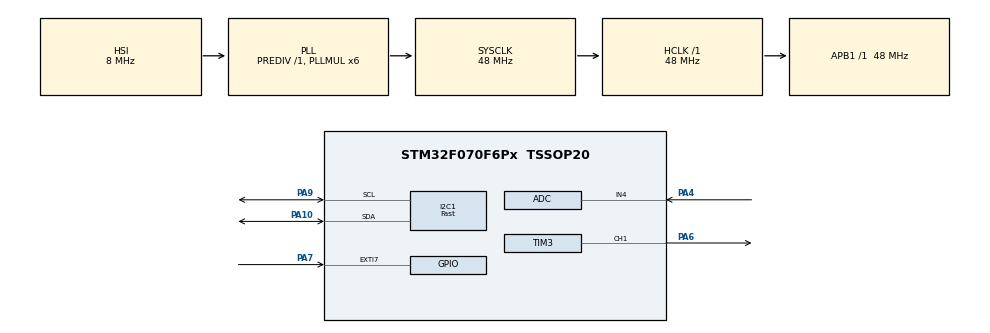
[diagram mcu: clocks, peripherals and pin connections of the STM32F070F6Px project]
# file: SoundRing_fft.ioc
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ADC.ContinuousConvMode=DISABLE
ADC.DMAContinuousRequests=DISABLE
ADC.SamplingTime=ADC_SAMPLETIME_28CYCLES_5
Dma.I2C1_TX.1.Direction=DMA_MEMORY_TO_PERIPH
Dma.I2C1_TX.1.Instance=DMA1_Channel2
Dma.I2C1_TX.1.MemDataAlignment=DMA_MDATAALIGN_BYTE
Dma.I2C1_TX.1.MemInc=DMA_MINC_ENABLE
Dma.I2C1_TX.1.Mode=DMA_NORMAL
Dma.I2C1_TX.1.PeriphDataAlignment=DMA_PDATAALIGN_BYTE
Dma.I2C1_TX.1.PeriphInc=DMA_PINC_DISABLE
Dma.I2C1_TX.1.Priority=DMA_PRIORITY_LOW
Dma.Request0=TIM3_CH1/TRIG
Dma.Request1=I2C1_TX
Dma.TIM3_CH1/TRIG.0.Direction=DMA_MEMORY_TO_PERIPH
Dma.TIM3_CH1/TRIG.0.Instance=DMA1_Channel4
Dma.TIM3_CH1/TRIG.0.MemDataAlignment=DMA_MDATAALIGN_BYTE
Dma.TIM3_CH1/TRIG.0.MemInc=DMA_MINC_ENABLE
Dma.TIM3_CH1/TRIG.0.Mode=DMA_NORMAL
Dma.TIM3_CH1/TRIG.0.PeriphDataAlignment=DMA_PDATAALIGN_HALFWORD
Dma.TIM3_CH1/TRIG.0.PeriphInc=DMA_PINC_DISABLE
Dma.TIM3_CH1/TRIG.0.Priority=DMA_PRIORITY_LOW
I2C1.I2C_Speed_Mode=I2C_Fast
I2C1.Timing=0x0000020B
Mcu.Family=STM32F0
Mcu.Name=STM32F070F6Px
Mcu.Package=TSSOP20
NVIC.DMA1_Channel2_3_IRQn=true\:0\:0\:false\:false\:true\:false\:true
NVIC.DMA1_Channel4_5_IRQn=true\:0\:0\:false\:false\:true\:false\:true
NVIC.EXTI4_15_IRQn=true\:0\:0\:false\:false\:true\:true\:true
NVIC.TIM14_IRQn=true\:0\:0\:false\:false\:true\:true\:true
NVIC.TIM16_IRQn=true\:0\:0\:false\:false\:true\:true\:true
PA10.GPIO_Pu=GPIO_PULLUP
PA10.Mode=I2C
PA10.Signal=I2C1_SDA
PA13.Mode=Serial_Wire
PA13.Signal=SYS_SWDIO
PA14.Mode=Serial_Wire
PA14.Signal=SYS_SWCLK
PA4.Mode=IN4
PA4.Signal=ADC_IN4
PA6.Signal=S_TIM3_CH1
PA7.GPIO_ModeDefaultEXTI=GPIO_MODE_IT_RISING_FALLING
PA7.GPIO_PuPd=GPIO_PULLUP
PA7.Signal=GPXTI7
PA9.GPIO_Pu=GPIO_PULLUP
PA9.Mode=I2C
PA9.Signal=I2C1_SCL
ProjectManager.HeapSize=0x200
ProjectManager.StackSize=0x400
ProjectManager.TargetToolchain=STM32CubeIDE
RCC.AHBFreq_Value=48000000
RCC.APB1Freq_Value=48000000
RCC.APB1TimFreq_Value=48000000
RCC.HCLKFreq_Value=48000000
RCC.PLLMUL=RCC_PLL_MUL6
RCC.SYSCLKFreq_VALUE=48000000
RCC.SYSCLKSource=RCC_SYSCLKSOURCE_PLLCLK
SH.S_TIM3_CH1.0=TIM3_CH1,PWM Generation1 CH1
TIM14.AutoReloadPreload=TIM_AUTORELOAD_PRELOAD_DISABLE
TIM14.Period=2999
TIM14.Prescaler=47999
TIM16.Period=11999
TIM3.Channel-PWM\ Generation1\ CH1=TIM_CHANNEL_1
TIM3.Period=59
VP_TIM14_VS_ClockSourceINT.Mode=Enable_Timer
VP_TIM16_VS_ClockSourceINT.Mode=Enable_Timer
board=custom

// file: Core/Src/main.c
/* USER CODE BEGIN Header */
/**
  ******************************************************************************
  * @file           : main.c
  * @brief          : Main program body
  ******************************************************************************
  * @attention
  *
  * <h2><center>&copy; Copyright (c) 2021 STMicroelectronics.
  * All rights reserved.</center></h2>
  *
  * This software component is licensed by ST under BSD 3-Clause license,
  * the "License"; You may not use this file except in compliance with the
  * License. You may obtain a copy of the License at:
  *                        opensource.org/licenses/BSD-3-Clause
  *
  ******************************************************************************
  */
/* USER CODE END Header */
#include "main.h"

/* USER CODE BEGIN Includes */
#include "ws2812/ws2812.h"
#include "math.h"
#include "fix_fft/fix_fft.h"

#include "ssd1306/ssd1306.h"
/* USER CODE END Includes */

/* USER CODE BEGIN PD */

#define MAX_BRIGHTNESS 255 		// Max led brightness
#define AVERAGE_SAMPLES 10  	// Number of samples to compute the average
#define DIFFERENCE_GAMMA 450	// ADC difference to increase hue
#define HUE_INCREMENT 1			// Hue increment

// OP-AMP rail aperture.
// Values from 0.1 to 1
// Less values, more sensitivity
#define RAIL_APERTURE 1

//Amount of samples to obtain
#define Len 64
#define Log2Len 6

/* USER CODE END PD */

ADC_HandleTypeDef hadc;

I2C_HandleTypeDef hi2c1;
DMA_HandleTypeDef hdma_i2c1_tx;

TIM_HandleTypeDef htim3;
TIM_HandleTypeDef htim14;
TIM_HandleTypeDef htim16;
DMA_HandleTypeDef hdma_tim3_ch1_trig;

/* USER CODE BEGIN PV */

uint8_t brightnessMode = 0; // 1 = brightness configuration mode
uint8_t brightness = 12;    // Brightness level (1 - 12)
uint8_t mode = 0;           // visualization mode
uint8_t lastMode = 4;
uint32_t lastTick = 0;      // used to avoid button bounce effect

// Max ADC value
uint16_t max_value = 2047 * RAIL_APERTURE;

// specific to control led effects
uint16_t lastValues[AVERAGE_SAMPLES] = {0};
uint8_t lastValueCount = 0;
uint8_t globalHue = 0;
uint8_t hueOffset = 120;

// led rotation
uint8_t rotation_delay = 20;
uint8_t rotation_count = 0;
uint8_t rotation_step = 0;

// FFT specific variables
volatile uint16_t adc_value = 0;
volatile uint16_t n_count = 0;
volatile uint8_t n_done = 0;

//Sample storage array
int16_t lastSample = 0; // Used on modes that did not require fft
int16_t Samples[Len] = {0};
int16_t Imag[Len] = {0};
uint16_t Mag[Len / 2 + 1];

/* USER CODE END PV */

void SystemClock_Config(void);
static void MX_GPIO_Init(void);
static void MX_DMA_Init(void);
static void MX_ADC_Init(void);
static void MX_TIM3_Init(void);
static void MX_I2C1_Init(void);
static void MX_TIM14_Init(void);
static void MX_TIM16_Init(void);
/* USER CODE BEGIN PFP */

void addLastValue(uint16_t value);
uint16_t getAverage();

void mode_0(uint16_t value);
void mode_1(uint16_t value);
void mode_2(uint16_t value);
void mode_3(uint16_t value);
void mode_4(void);

void brightnessSetup(void);
uint8_t getRawBrightness(void);

uint16_t isqrt(uint32_t x);

/* USER CODE END PFP */

int main(void)
{

  /* MCU Configuration--------------------------------------------------------*/

  /* Reset of all peripherals, Initializes the Flash interface and the Systick. */
  HAL_Init();

  /* Configure the system clock */
  SystemClock_Config();

  /* Initialize all configured peripherals */
  MX_GPIO_Init();
  MX_DMA_Init();
  MX_ADC_Init();
  MX_TIM3_Init();
  MX_I2C1_Init();
  MX_TIM14_Init();
  MX_TIM16_Init();
  /* USER CODE BEGIN 2 */

  // Issuing the TIM_TimeBaseInit() function caused the TIM_SR_UIF flag to become set. Clear it.
  __HAL_TIM_CLEAR_FLAG(&htim14, TIM_SR_UIF);

  // Clear leds
  ws2812_init(&htim3);
  ws2812_fillBlack();
  ws2812_update();

  /* Uncomment to Test current consumption */
  //    ws2812_setWHOLEcolor(255, 255, 255);
  //    ws2812_update();
  //    HAL_Delay(6000);
  /******/

  // Start ADC conversion
  // ADC is triggered from Timer16 at 4KHz sampling rate
  HAL_TIM_Base_Start_IT(&htim16);
  HAL_ADC_Start(&hadc);

  // Delay duration
  uint8_t delay = 10;

  /* USER CODE END 2 */

  /* Infinite loop */
  /* USER CODE BEGIN WHILE */
  while (1)
  {
	  if (brightnessMode == 1)
	  {
		  brightnessSetup();
	  }
	  else
	  {

		  // Execute visualization mode
		  switch (mode)
		  {
		  case 0:
			  mode_0(lastSample);
			  break;
		  case 1:
			  mode_1(lastSample);
			  break;
		  case 2:
			  mode_2(lastSample);
			  break;
		  case 3:
			  mode_3(lastSample);
			  break;
		  case 4:
			  while (!n_done) {};
			  HAL_TIM_Base_Stop_IT(&htim16);
			  n_done = 0;
			  mode_4();
			  HAL_TIM_Base_Start_IT(&htim16);
			  break;
		  default:
			  break;
		  }

	  }

	  HAL_Delay(delay);
    /* USER CODE END WHILE */

  }
}

void SystemClock_Config(void)
{
  RCC_OscInitTypeDef RCC_OscInitStruct = {0};
  RCC_ClkInitTypeDef RCC_ClkInitStruct = {0};
  RCC_PeriphCLKInitTypeDef PeriphClkInit = {0};

  /** Initializes the RCC Oscillators according to the specified parameters
  * in the RCC_OscInitTypeDef structure.
  */
  RCC_OscInitStruct.OscillatorType = RCC_OSCILLATORTYPE_HSI|RCC_OSCILLATORTYPE_HSI14;
  RCC_OscInitStruct.HSIState = RCC_HSI_ON;
  RCC_OscInitStruct.HSI14State = RCC_HSI14_ON;
  RCC_OscInitStruct.HSICalibrationValue = RCC_HSICALIBRATION_DEFAULT;
  RCC_OscInitStruct.HSI14CalibrationValue = 16;
  RCC_OscInitStruct.PLL.PLLState = RCC_PLL_ON;
  RCC_OscInitStruct.PLL.PLLSource = RCC_PLLSOURCE_HSI;
  RCC_OscInitStruct.PLL.PLLMUL = RCC_PLL_MUL6;
  RCC_OscInitStruct.PLL.PREDIV = RCC_PREDIV_DIV1;
  if (HAL_RCC_OscConfig(&RCC_OscInitStruct) != HAL_OK)
  {
    Error_Handler();
  }
  /** Initializes the CPU, AHB and APB buses clocks
  */
  RCC_ClkInitStruct.ClockType = RCC_CLOCKTYPE_HCLK|RCC_CLOCKTYPE_SYSCLK
                              |RCC_CLOCKTYPE_PCLK1;
  RCC_ClkInitStruct.SYSCLKSource = RCC_SYSCLKSOURCE_PLLCLK;
  RCC_ClkInitStruct.AHBCLKDivider = RCC_SYSCLK_DIV1;
  RCC_ClkInitStruct.APB1CLKDivider = RCC_HCLK_DIV1;

  if (HAL_RCC_ClockConfig(&RCC_ClkInitStruct, FLASH_LATENCY_1) != HAL_OK)
  {
    Error_Handler();
  }
  PeriphClkInit.PeriphClockSelection = RCC_PERIPHCLK_I2C1;
  PeriphClkInit.I2c1ClockSelection = RCC_I2C1CLKSOURCE_HSI;
  if (HAL_RCCEx_PeriphCLKConfig(&PeriphClkInit) != HAL_OK)
  {
    Error_Handler();
  }
}

static void MX_ADC_Init(void)
{

  ADC_ChannelConfTypeDef sConfig = {0};

  /** Configure the global features of the ADC (Clock, Resolution, Data Alignment and number of conversion)
  */
  hadc.Instance = ADC1;
  hadc.Init.ClockPrescaler = ADC_CLOCK_ASYNC_DIV1;
  hadc.Init.Resolution = ADC_RESOLUTION_12B;
  hadc.Init.DataAlign = ADC_DATAALIGN_RIGHT;
  hadc.Init.ScanConvMode = ADC_SCAN_DIRECTION_FORWARD;
  hadc.Init.EOCSelection = ADC_EOC_SINGLE_CONV;
  hadc.Init.LowPowerAutoWait = DISABLE;
  hadc.Init.LowPowerAutoPowerOff = DISABLE;
  hadc.Init.ContinuousConvMode = DISABLE;
  hadc.Init.DiscontinuousConvMode = DISABLE;
  hadc.Init.ExternalTrigConv = ADC_SOFTWARE_START;
  hadc.Init.ExternalTrigConvEdge = ADC_EXTERNALTRIGCONVEDGE_NONE;
  hadc.Init.DMAContinuousRequests = DISABLE;
  hadc.Init.Overrun = ADC_OVR_DATA_PRESERVED;
  if (HAL_ADC_Init(&hadc) != HAL_OK)
  {
    Error_Handler();
  }
  /** Configure for the selected ADC regular channel to be converted.
  */
  sConfig.Channel = ADC_CHANNEL_4;
  sConfig.Rank = ADC_RANK_CHANNEL_NUMBER;
  sConfig.SamplingTime = ADC_SAMPLETIME_28CYCLES_5;
  if (HAL_ADC_ConfigChannel(&hadc, &sConfig) != HAL_OK)
  {
    Error_Handler();
  }

}

static void MX_I2C1_Init(void)
{

  hi2c1.Instance = I2C1;
  hi2c1.Init.Timing = 0x0000020B;
  hi2c1.Init.OwnAddress1 = 0;
  hi2c1.Init.AddressingMode = I2C_ADDRESSINGMODE_7BIT;
  hi2c1.Init.DualAddressMode = I2C_DUALADDRESS_DISABLE;
  hi2c1.Init.OwnAddress2 = 0;
  hi2c1.Init.OwnAddress2Masks = I2C_OA2_NOMASK;
  hi2c1.Init.GeneralCallMode = I2C_GENERALCALL_DISABLE;
  hi2c1.Init.NoStretchMode = I2C_NOSTRETCH_DISABLE;
  if (HAL_I2C_Init(&hi2c1) != HAL_OK)
  {
    Error_Handler();
  }
  /** Configure Analogue filter
  */
  if (HAL_I2CEx_ConfigAnalogFilter(&hi2c1, I2C_ANALOGFILTER_ENABLE) != HAL_OK)
  {
    Error_Handler();
  }
  /** Configure Digital filter
  */
  if (HAL_I2CEx_ConfigDigitalFilter(&hi2c1, 0) != HAL_OK)
  {
    Error_Handler();
  }

}

static void MX_TIM3_Init(void)
{

  TIM_MasterConfigTypeDef sMasterConfig = {0};
  TIM_OC_InitTypeDef sConfigOC = {0};

  htim3.Instance = TIM3;
  htim3.Init.Prescaler = 0;
  htim3.Init.CounterMode = TIM_COUNTERMODE_UP;
  htim3.Init.Period = 59;
  htim3.Init.ClockDivision = TIM_CLOCKDIVISION_DIV1;
  htim3.Init.AutoReloadPreload = TIM_AUTORELOAD_PRELOAD_DISABLE;
  if (HAL_TIM_PWM_Init(&htim3) != HAL_OK)
  {
    Error_Handler();
  }
  sMasterConfig.MasterOutputTrigger = TIM_TRGO_RESET;
  sMasterConfig.MasterSlaveMode = TIM_MASTERSLAVEMODE_DISABLE;
  if (HAL_TIMEx_MasterConfigSynchronization(&htim3, &sMasterConfig) != HAL_OK)
  {
    Error_Handler();
  }
  sConfigOC.OCMode = TIM_OCMODE_PWM1;
  sConfigOC.Pulse = 0;
  sConfigOC.OCPolarity = TIM_OCPOLARITY_HIGH;
  sConfigOC.OCFastMode = TIM_OCFAST_DISABLE;
  if (HAL_TIM_PWM_ConfigChannel(&htim3, &sConfigOC, TIM_CHANNEL_1) != HAL_OK)
  {
    Error_Handler();
  }
  HAL_TIM_MspPostInit(&htim3);

}

static void MX_TIM14_Init(void)
{

  htim14.Instance = TIM14;
  htim14.Init.Prescaler = 47999;
  htim14.Init.CounterMode = TIM_COUNTERMODE_UP;
  htim14.Init.Period = 2999;
  htim14.Init.ClockDivision = TIM_CLOCKDIVISION_DIV1;
  htim14.Init.AutoReloadPreload = TIM_AUTORELOAD_PRELOAD_DISABLE;
  if (HAL_TIM_Base_Init(&htim14) != HAL_OK)
  {
    Error_Handler();
  }

}

static void MX_TIM16_Init(void)
{

  htim16.Instance = TIM16;
  htim16.Init.Prescaler = 0;
  htim16.Init.CounterMode = TIM_COUNTERMODE_UP;
  htim16.Init.Period = 11999;
  htim16.Init.ClockDivision = TIM_CLOCKDIVISION_DIV1;
  htim16.Init.RepetitionCounter = 0;
  htim16.Init.AutoReloadPreload = TIM_AUTORELOAD_PRELOAD_DISABLE;
  if (HAL_TIM_Base_Init(&htim16) != HAL_OK)
  {
    Error_Handler();
  }

}

static void MX_DMA_Init(void)
{

  /* DMA controller clock enable */
  __HAL_RCC_DMA1_CLK_ENABLE();

  /* DMA interrupt init */
  /* DMA1_Channel2_3_IRQn interrupt configuration */
  HAL_NVIC_SetPriority(DMA1_Channel2_3_IRQn, 0, 0);
  HAL_NVIC_EnableIRQ(DMA1_Channel2_3_IRQn);
  /* DMA1_Channel4_5_IRQn interrupt configuration */
  HAL_NVIC_SetPriority(DMA1_Channel4_5_IRQn, 0, 0);
  HAL_NVIC_EnableIRQ(DMA1_Channel4_5_IRQn);

}

static void MX_GPIO_Init(void)
{
  GPIO_InitTypeDef GPIO_InitStruct = {0};

  /* GPIO Ports Clock Enable */
  __HAL_RCC_GPIOA_CLK_ENABLE();

  /*Configure GPIO pin : PA7 */
  GPIO_InitStruct.Pin = GPIO_PIN_7;
  GPIO_InitStruct.Mode = GPIO_MODE_IT_RISING_FALLING;
  GPIO_InitStruct.Pull = GPIO_PULLUP;
  HAL_GPIO_Init(GPIOA, &GPIO_InitStruct);

  /* EXTI interrupt init*/
  HAL_NVIC_SetPriority(EXTI4_15_IRQn, 0, 0);
  HAL_NVIC_EnableIRQ(EXTI4_15_IRQn);

}

/* USER CODE BEGIN 4 */

/**
 * Interrupt callback
 */
void HAL_GPIO_EXTI_Callback(uint16_t GPIO_Pin)
{
	if (GPIO_Pin == GPIO_PIN_7)
	{
		if (HAL_GPIO_ReadPin(GPIOA, GPIO_PIN_7) == GPIO_PIN_SET) // Button released
		{
			if (brightnessMode == 0)
			{
				HAL_TIM_Base_Stop_IT(&htim14);
				__HAL_TIM_SET_COUNTER(&htim14, 0);
			}
			lastTick = HAL_GetTick();
		}
		else // Button pressed
		{

			// Check clock ticks between interrupts
			// to avoid bounce effect
			uint32_t tick = HAL_GetTick();
			uint32_t diff = tick - lastTick;

			if (brightnessMode == 1)
			{
				if (diff > 200) {

					// Increment brightness
					__HAL_TIM_SET_COUNTER(&htim14, 0);
					brightness = (brightness == 12) ? 1 : brightness + 1;
				}
			}
			else
			{
				if (diff > 400){
					HAL_TIM_Base_Start_IT(&htim14);
					ws2812_fillBlack();
					mode++;
					if (mode > lastMode)
					{
						mode = 0;
					}
				}
			}

			lastTick = tick;
		}
	}
}

/**
 * Timer Interrupt callback
 */
void HAL_TIM_PeriodElapsedCallback(TIM_HandleTypeDef *htim)
{
	if (htim == &htim14) // Exit brightness configuration mode
	{
		if (brightnessMode == 1)
		{
			HAL_TIM_Base_Stop_IT(&htim14);
			__HAL_TIM_SET_COUNTER(&htim14, 0);
		}

		brightnessMode = (brightnessMode == 1) ? 0 : 1;
	}
	else if (htim == &htim16)
	{
		// Read ADC value
		HAL_ADC_Start(&hadc);
		if (HAL_ADC_PollForConversion(&hadc, 10) == HAL_OK)
		{
			adc_value = HAL_ADC_GetValue(&hadc);
			lastSample = adc_value;

			if (n_done == 0)
			{
				Samples[n_count++] = adc_value;

				if (n_count >= Len)
				{
					n_done = 1;
					n_count = 0;
				}
			}
		}
	}
}

/**
 * Add value to compute average
 */
void addLastValue(uint16_t value)
{
	lastValues[lastValueCount] = value;
	lastValueCount++;

	if (lastValueCount >= AVERAGE_SAMPLES)
	{
		lastValueCount = 0;
	}
}

/**
 * Get the average value
 */
uint16_t getAverage()
{
	uint16_t average = 0;
	for (uint8_t i = 0; i < AVERAGE_SAMPLES; i++)
	{
		average += lastValues[i];
	}

	return abs(average / AVERAGE_SAMPLES);
}

/**
 * Mode 0 - Sound Pressure Gauge
 */
void mode_0(uint16_t value)
{
	// Difference between the average value and center position
	// of the op-amp signal. ADC computes in 12bit(4096), so
	// center position have a value of 4095/2 ~= 2047
	uint16_t tempValue = abs(2047 - value);

	if(tempValue<300) {
		tempValue = 0;
	}

	// Uncomment to set equivalent brightness from value
	// uint8_t brightness = floor(tempValue * MAX_BRIGHTNESS) / max_value;
	uint8_t brightness = getRawBrightness();

	// LED position that corresponds to the value
	uint8_t position = abs((tempValue * LED_COUNT) / max_value);

	// Check difference from last value to change the Hue
	int diff = tempValue - getAverage();
	if (diff > DIFFERENCE_GAMMA)
	{
		globalHue += HUE_INCREMENT;
	}

	addLastValue(tempValue);

	// Apply LED values and display data
	for (uint8_t i = 0; i < LED_COUNT; i++)
	{
		if (i < position)
		{
			ws2812_setLEDhue(i, globalHue + hueOffset + (i * 2), 255, brightness, 0, 1.2);
		}
		else
		{
			ws2812_setLEDfade(i, 1.2);
		}
	}
	ws2812_update();
}

/**
 * Mode 1 - Double Half Ring
 */

void mode_1(uint16_t value) {
	// Difference between the average value and center position
	// of the op-amp signal. ADC computes in 12bit(4096), so
	// center position hava a value of 4095/2 ~= 2047
	uint16_t tempValue = abs(2047 - value);

	if(tempValue<30) {
		tempValue = 0;
	}

	// Uncomment to set equivalent brightness from value
	// uint8_t brightness = floor(tempValue * MAX_BRIGHTNESS) / max_value;
	uint8_t brightness = getRawBrightness();

	// LED position that corresponds to the value
	uint8_t position = abs((tempValue * (LED_COUNT/2)) / max_value);

	// Check difference from last value to change the Hue
	int diff = tempValue - getAverage();
	if (diff > DIFFERENCE_GAMMA)
	{
		globalHue += HUE_INCREMENT;
	}

	addLastValue(tempValue);

	// Apply LED values and display data
	for (uint8_t i = 0; i < (LED_COUNT/2); i++)
	{
		if (i < position)
		{
			ws2812_setLEDhue(i, globalHue + hueOffset + (i * 2), 255, brightness, 1, 1.2);
		}
		else
		{
			ws2812_setLEDfade(i, 1.2);
		}
	}

	// Mirror
	ws2812_mirrorHalf();

	ws2812_update();
}

/**
 * Mode 2 - Half ring centered and mirrored
 */

void mode_2(uint16_t value)
{
	uint16_t tempValue = abs(2047 - value);

	// Uncomment to set equivalent brightness from value
	// uint8_t brightness = floor(tempValue * MAX_BRIGHTNESS) / max_value;
	uint8_t brightness = getRawBrightness();

	uint8_t position = abs((tempValue * 4) / max_value);

	int diff = tempValue - getAverage();
	if (diff > DIFFERENCE_GAMMA)
	{
		globalHue += HUE_INCREMENT;
	}

	addLastValue(tempValue);

	for (uint8_t i = 0; i < 4; i++)
	{
		if (i < position)
		{
			ws2812_setLEDhue(i, globalHue + hueOffset + (i * 2), 255, brightness, 1, 1.2);
		}
		else
		{
			ws2812_setLEDfade(i, 1.2);
		}
	}

	// mirror
	ws2812_mirrorFirstQuarter();

	ws2812_update();
}

/**
 * Mode 3 - Mode 2 with rotation
 */
void mode_3(uint16_t value)
{
	uint16_t tempValue = abs(2047 - value);

	// Uncomment to set equivalent brightness from value
	// uint8_t brightness = floor(tempValue * MAX_BRIGHTNESS) / max_value;
	uint8_t brightness = getRawBrightness();

	uint8_t position = abs((tempValue * 4) / max_value);

	int diff = tempValue - getAverage();
	if (diff > DIFFERENCE_GAMMA)
	{
		globalHue += HUE_INCREMENT;
	}

	addLastValue(tempValue);

	for (uint8_t i = 0; i < 4; i++)
	{
		if (i < position)
		{
			ws2812_setLEDhue(i, globalHue + hueOffset + (i * 2), 255, brightness, 0, 1.2);
		}
		else
		{
			ws2812_setLEDfade(i, 1.2);
		}
	}

	// mirror
	ws2812_mirrorFirstQuarter();

	if (rotation_count == rotation_delay)
	{
		rotation_count = 0;
		rotation_step++;
		if (rotation_step >= LED_COUNT)
		{
			rotation_step = 0;
		}
	}
	rotation_count++;

	ws2812_shift(rotation_step);
}

/**
 * Mode 4 - Spectrum Analyzer. FFT
 */

void mode_4() {

	fix_fft(Samples, Imag, Log2Len, 0);

	for (uint16_t i = 0; i <= (Len/2); i++){
		Mag[i] = isqrt(Samples[i] * Samples[i] + Imag[i] * Imag[i]);
	}

	uint8_t barsPerLed = (uint8_t)floor((Len / 2) / LED_COUNT);

	uint8_t rawBrightness = getRawBrightness();

	for (uint8_t led = 0; led < LED_COUNT; led++) {
		uint16_t max = 0;
		for (uint8_t pos = led*barsPerLed; pos < (led*barsPerLed) + barsPerLed; pos++) {
				max = (Mag[pos+1] > max) ? Mag[pos+1] : max;
		}

		uint8_t brightness = (uint8_t)floor((max * rawBrightness) / 150); // 150 is the sensitivity. The lower the higher.

		if(brightness<floor(rawBrightness/3)) {
			brightness = 0;
		}

		if (brightness > 0)
		{
			ws2812_setLEDhue(led, led*(256/LED_COUNT), 255, brightness, 0, 1.4);
		}
		else
		{
			ws2812_setLEDfade(led, 1.1);
		}

	}

	ws2812_update();

}

/*Integer square root - Obtained from Stack Overflow (14/6/15):
 * http://stackoverflow.com/questions/1100090/looking-for-an-efficient-integer-square-root-algorithm-for-arm-thumb2
 * User: Gutskalk
 */
uint16_t isqrt(uint32_t x)
{
	uint16_t res = 0;
	uint16_t add = 0x8000;
	int i;
	for (i = 0; i < 16; i++)
	{
		uint16_t temp = res | add;
		uint32_t g2 = temp * temp;
		if (x >= g2)
		{
			res = temp;
		}
		add >>= 1;
	}
	return res;
}

/**
 * Brightness configuration mode
 */
void brightnessSetup(void)
{
	ws2812_fillBlack();
	uint8_t rawBrightness = getRawBrightness();
	for (uint8_t i = 0; i < brightness; i++)
	{

		ws2812_setLEDcolor(i, rawBrightness, rawBrightness, rawBrightness);

	}
	ws2812_update();
}

/**
 * Transform brightness lever (1 - 12)
 * to brightness value (21 - 255)
 */
uint8_t getRawBrightness(void)
{
	uint8_t raw = round((brightness * MAX_BRIGHTNESS) / 12);
	return raw;
}

/* USER CODE END 4 */

void Error_Handler(void)
{
  __disable_irq();
  while (1)
  {
  }
}

/************************ (C) COPYRIGHT STMicroelectronics *****END OF FILE****/
